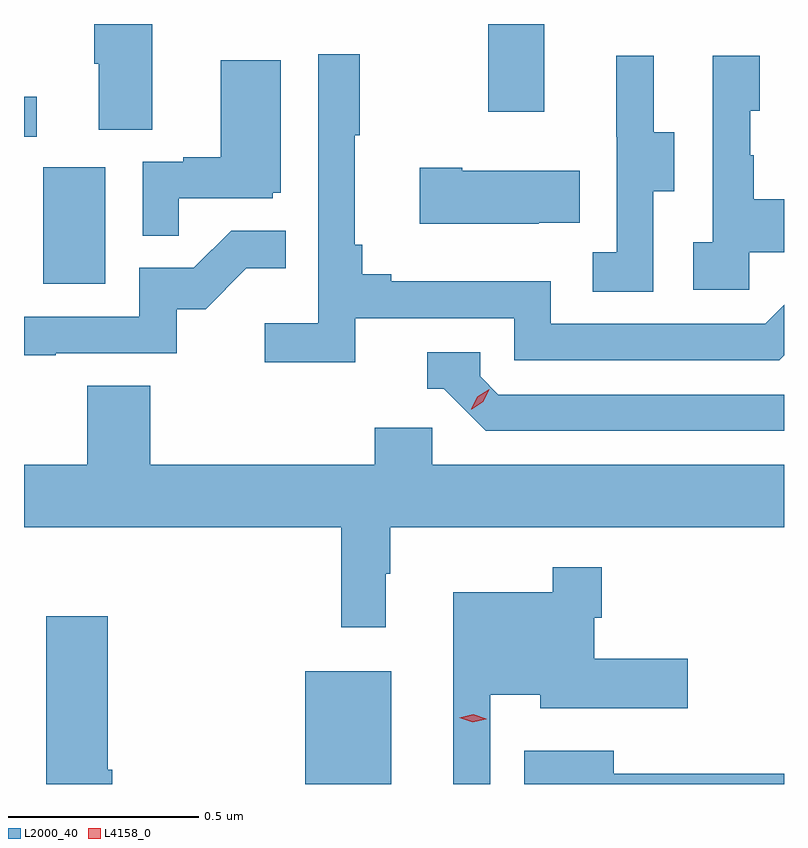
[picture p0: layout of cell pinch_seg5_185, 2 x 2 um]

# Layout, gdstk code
import gdstk
lib = gdstk.Library(unit=1e-6, precision=1e-09)
def R(c, l, rs):  # rectangles x0, y0, x1, y1
    for r in rs: c.add(gdstk.rectangle(r[:2], r[2:], *l))
def P(c, l, *ps):  # polygons
    for p in ps: c.add(gdstk.Polygon(p, *l))
L2000_40 = (2000, 40)
L4158_0 = (4158, 0)

pinch_seg5_185 = lib.new_cell('pinch_seg5_185')
R(pinch_seg5_185, L2000_40, [(1129.268,876.064,1129.495,876.361), (1128.578,877.38,1128.742,877.687), (1128.528,877.767,1128.562,877.873), (1129.75,877.833,1129.897,878.064)])
P(pinch_seg5_185, L2000_40, [(1128.865,878.064),(1128.713,878.064),(1128.713,877.96),(1128.725,877.96),(1128.725,877.786),(1128.865,877.786)],
  [(1129.4,877.29),(1129.818,877.29),(1129.818,877.179),(1130.515,877.179),(1130.528,877.192),(1130.528,877.325),(1130.478,877.275),(1129.914,877.275),(1129.914,877.387),(1129.495,877.387),(1129.495,877.406),(1129.418,877.406),(1129.418,877.483),(1129.399,877.483),(1129.399,877.771),(1129.411,877.771),(1129.411,877.984),(1129.302,877.984),(1129.302,877.276),(1129.161,877.276),(1129.161,877.174),(1129.4,877.174)],
  [(1130.436,877.463),(1130.528,877.463),(1130.528,877.603),(1130.449,877.603),(1130.449,877.718),(1130.439,877.718),(1130.439,877.836),(1130.464,877.836),(1130.464,877.981),(1130.34,877.981),(1130.34,877.49),(1130.289,877.49),(1130.289,877.365),(1130.436,877.365)],
  [(1130.184,877.624),(1130.239,877.624),(1130.239,877.779),(1130.185,877.779),(1130.185,877.981),(1130.087,877.981),(1130.087,877.767),(1130.088,877.767),(1130.088,877.463),(1130.025,877.463),(1130.025,877.36),(1130.184,877.36)],
  [(1128.935,877.605),(1129.182,877.605),(1129.182,877.62),(1129.204,877.62),(1129.204,877.969),(1129.046,877.969),(1129.046,877.714),(1128.947,877.714),(1128.947,877.701),(1128.84,877.701),(1128.84,877.507),(1128.935,877.507)],
  [(1129.883,877.541),(1129.991,877.541),(1129.991,877.678),(1129.681,877.678),(1129.681,877.686),(1129.569,877.686),(1129.569,877.538),(1129.883,877.538)],
  [(1128.611,877.197),(1128.93,877.197),(1128.93,877.314),(1129.006,877.314),(1129.113,877.421),(1129.217,877.421),(1129.217,877.52),(1129.073,877.52),(1128.975,877.422),(1128.831,877.422),(1128.831,877.293),(1128.528,877.293),(1128.528,877.192),(1128.611,877.192)],
  [(1130.528,877.089),(1129.776,877.089),(1129.728,877.137),(1129.728,877.2),(1129.589,877.2),(1129.589,877.104),(1129.632,877.104),(1129.743,876.993),(1130.528,876.993)],
  [(1129.48,876.617),(1129.492,876.617),(1129.492,876.74),(1130.528,876.74),(1130.528,876.904),(1129.602,876.904),(1129.602,877.002),(1129.451,877.002),(1129.451,876.904),(1128.86,876.904),(1128.86,877.112),(1128.695,877.112),(1128.695,876.904),(1128.528,876.904),(1128.528,876.74),(1129.363,876.74),(1129.363,876.477),(1129.48,876.477)],
  [(1129.755,876.299),(1129.886,876.299),(1129.886,876.263),(1130.275,876.263),(1130.275,876.393),(1130.029,876.393),(1130.029,876.501),(1130.048,876.501),(1130.048,876.634),(1129.92,876.634),(1129.92,876.568),(1129.658,876.568),(1129.658,876.064),(1129.755,876.064)],
  [(1128.76,876.102),(1128.748,876.102),(1128.748,876.505),(1128.587,876.505),(1128.587,876.064),(1128.76,876.064)],
  [(1130.528,876.091),(1130.08,876.091),(1130.08,876.151),(1129.844,876.151),(1129.844,876.064),(1130.528,876.064)])
P(pinch_seg5_185, L4158_0, [(1129.705,877.05),(1129.705,877.05),(1129.721,877.083),(1129.752,877.103),(1129.752,877.103),(1129.752,877.103),(1129.736,877.07),(1129.706,877.05)],
  [(1129.709,876.227),(1129.674,876.238),(1129.674,876.238),(1129.674,876.239),(1129.71,876.247),(1129.744,876.236),(1129.745,876.235),(1129.744,876.235)])

lib.write_gds('pinch_seg5_185.gds')
